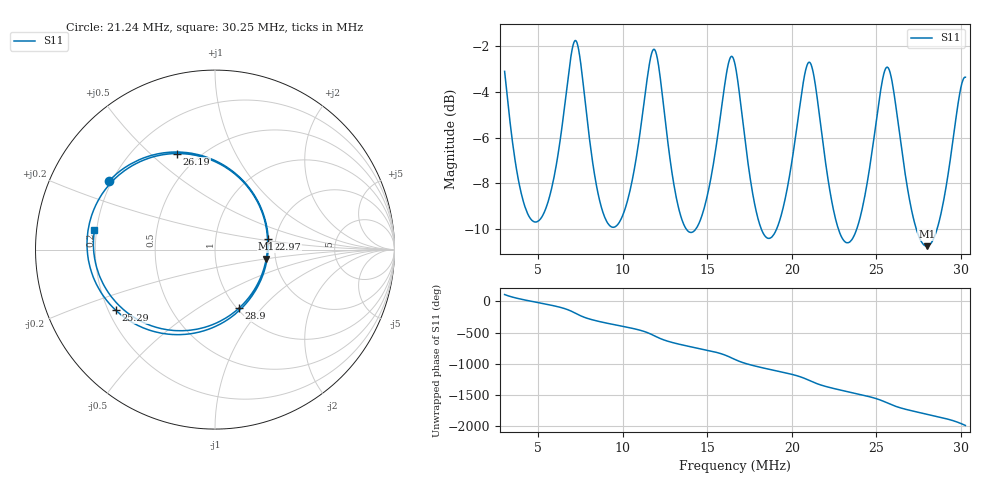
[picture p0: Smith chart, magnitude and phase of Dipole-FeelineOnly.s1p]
# HZ S RI R 50
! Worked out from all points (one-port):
!   2727 points, 3 MHz to 30.27 MHz, reference 50 ohm
!   lowest |S11| = -10.7 dB at 27.98 MHz (marker M1), VSWR 1.82, Z = 89.3 - j9.95 ohm
!   |S11| at or under -10 dB: 18.19 MHz to 19.1 MHz (905.1 kHz wide, 4.85 % of centre); 22.75 MHz to 23.84 MHz (1.087 MHz wide, 4.67 % of centre); 27.37 MHz to 28.59 MHz (1.228 MHz wide, 4.39 % of centre)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
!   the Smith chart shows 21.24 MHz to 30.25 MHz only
!   S11 on the Smith chart (normalised r, x): 21.24 MHz: 0.19, +0.28; 22.97 MHz: 1.82, +0.24; 25.29 MHz: 0.23, -0.27; 26.19 MHz: 0.38, +0.61; 28.9 MHz: 1.02, -0.76; 30.25 MHz: 0.19, +0.08
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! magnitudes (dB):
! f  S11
! 3 MHz  -3.1
! 3.83 MHz  -7.9
! 4.641 MHz  -9.6
! 5.551 MHz  -8.9
! 6.411 MHz  -5.4
! 7.242 MHz  -1.8
! 8.632 MHz  -8.8
! 9.823 MHz  -9.7
! 11.82 MHz  -2.1
! 13.23 MHz  -8.9
! 14.54 MHz  -9.7
! 16.23 MHz  -2.8
! 16.64 MHz  -2.8
! 18.36 MHz  -10.2
! 19.18 MHz  -9.8
! 20.05 MHz  -6.8
! 20.81 MHz  -3.1
! 21.24 MHz  -3.1
! 22.97 MHz  -10.4
! 23.46 MHz  -10.5
! 25.29 MHz  -3.8
! 25.71 MHz  -2.9
! 26.19 MHz  -4.8
! 26.87 MHz  -8.3
! 27.98 MHz  -10.7
! 28.9 MHz  -9.1
! 30.25 MHz  -3.3
! 30.27 MHz  -3.4
